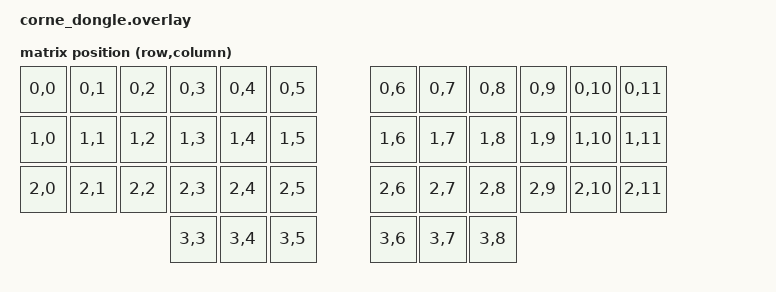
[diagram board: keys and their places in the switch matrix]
/*
 * Copyright (c) 2020 Pete Johanson
 * SPDX-License-Identifier: MIT
 */

#include <dt-bindings/zmk/matrix_transform.h>

/*
 * Use the SAME physical layout as the corne halves (foostan 6 column) instead
 * of a bare zmk,matrix-transform.
 *
 * Since ZMK v0.3 the corne halves use zmk,physical-layout and ship two layouts
 * (5col + 6col). With a plain-matrix-transform dongle the central had no
 * physical layout, so it could neither sync the active layout to the
 * peripherals nor translate their reported positions through the layout
 * position map. The peripherals fell back to the 5col (36-key) layout while the
 * dongle keymap is 6col (42-key), producing a per-row 2-column shift -- only
 * part of the keys typed the right thing.
 *
 * Giving the central the matching 6col physical layout makes all three devices
 * agree on the position numbering (the 6col position map is identity 0-41).
 */
#include <layouts/foostan/corne/6column.dtsi>

/ {
    chosen {
        zmk,kscan = &mock_kscan0;
        zmk,physical-layout = &foostan_corne_6col_layout;
    };

    mock_kscan0: mock_kscan_0 {
        compatible = "zmk,kscan-mock";
        columns = < 0 >;
        rows = < 0 >;
        events = <>;
    };

    default_transform: keymap_transform_0 {
        compatible = "zmk,matrix-transform";
        columns = <12>;
        rows = <4>;
        map = <
            RC(0,0) RC(0,1) RC(0,2) RC(0,3) RC(0,4) RC(0,5)  RC(0,6) RC(0,7) RC(0,8) RC(0,9) RC(0,10) RC(0,11)
            RC(1,0) RC(1,1) RC(1,2) RC(1,3) RC(1,4) RC(1,5)  RC(1,6) RC(1,7) RC(1,8) RC(1,9) RC(1,10) RC(1,11)
            RC(2,0) RC(2,1) RC(2,2) RC(2,3) RC(2,4) RC(2,5)  RC(2,6) RC(2,7) RC(2,8) RC(2,9) RC(2,10) RC(2,11)
                                    RC(3,3) RC(3,4) RC(3,5)  RC(3,6) RC(3,7) RC(3,8)
        >;
    };
};

&foostan_corne_6col_layout {
    transform = <&default_transform>;
};
